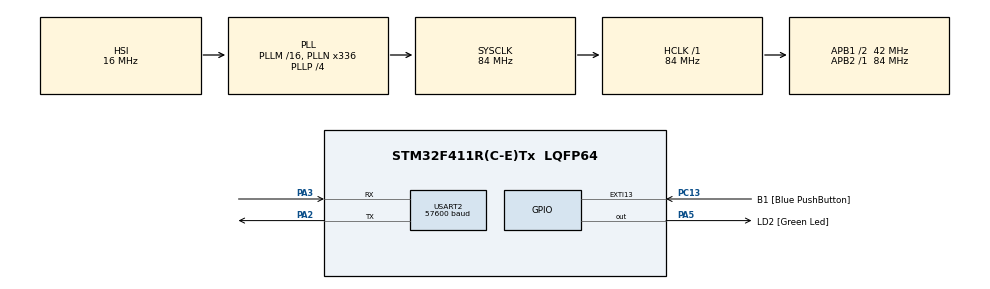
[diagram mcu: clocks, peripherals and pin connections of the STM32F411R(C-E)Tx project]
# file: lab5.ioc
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Dma.Request0=USART2_RX
Dma.Request1=USART2_TX
Dma.USART2_RX.0.Direction=DMA_PERIPH_TO_MEMORY
Dma.USART2_RX.0.FIFOMode=DMA_FIFOMODE_DISABLE
Dma.USART2_RX.0.Instance=DMA1_Stream5
Dma.USART2_RX.0.MemDataAlignment=DMA_MDATAALIGN_BYTE
Dma.USART2_RX.0.MemInc=DMA_MINC_ENABLE
Dma.USART2_RX.0.Mode=DMA_CIRCULAR
Dma.USART2_RX.0.PeriphDataAlignment=DMA_PDATAALIGN_BYTE
Dma.USART2_RX.0.PeriphInc=DMA_PINC_DISABLE
Dma.USART2_RX.0.Priority=DMA_PRIORITY_LOW
Dma.USART2_TX.1.Direction=DMA_MEMORY_TO_PERIPH
Dma.USART2_TX.1.FIFOMode=DMA_FIFOMODE_DISABLE
Dma.USART2_TX.1.Instance=DMA1_Stream6
Dma.USART2_TX.1.MemDataAlignment=DMA_MDATAALIGN_BYTE
Dma.USART2_TX.1.MemInc=DMA_MINC_ENABLE
Dma.USART2_TX.1.Mode=DMA_NORMAL
Dma.USART2_TX.1.PeriphDataAlignment=DMA_PDATAALIGN_BYTE
Dma.USART2_TX.1.PeriphInc=DMA_PINC_DISABLE
Dma.USART2_TX.1.Priority=DMA_PRIORITY_LOW
Mcu.Family=STM32F4
Mcu.Name=STM32F411R(C-E)Tx
Mcu.Package=LQFP64
NVIC.DMA1_Stream5_IRQn=true\:0\:0\:false\:false\:true\:false\:true\:true
NVIC.DMA1_Stream6_IRQn=true\:0\:0\:false\:false\:true\:false\:true\:true
NVIC.PriorityGroup=NVIC_PRIORITYGROUP_0
NVIC.USART2_IRQn=true\:0\:0\:false\:false\:true\:true\:true\:true
PA13.GPIO_Label=TMS
PA13.Mode=Serial_Wire
PA13.Signal=SYS_JTMS-SWDIO
PA14.GPIO_Label=TCK
PA14.Mode=Serial_Wire
PA14.Signal=SYS_JTCK-SWCLK
PA2.GPIO_ModeDefaultPP=GPIO_MODE_AF_PP
PA2.GPIO_PuPd=GPIO_NOPULL
PA2.GPIO_Speed=GPIO_SPEED_FREQ_VERY_HIGH
PA2.Mode=Asynchronous
PA2.Signal=USART2_TX
PA3.GPIO_ModeDefaultPP=GPIO_MODE_AF_PP
PA3.GPIO_PuPd=GPIO_NOPULL
PA3.GPIO_Speed=GPIO_SPEED_FREQ_VERY_HIGH
PA3.Mode=Asynchronous
PA3.Signal=USART2_RX
PA5.GPIO_Label=LD2 [Green Led]
PA5.Signal=GPIO_Output
PB3.GPIO_Label=SWO
PB3.Signal=SYS_JTDO-SWO
PC13-ANTI_TAMP.GPIO_Label=B1 [Blue PushButton]
PC13-ANTI_TAMP.GPIO_ModeDefaultEXTI=GPIO_MODE_IT_FALLING
PC13-ANTI_TAMP.Signal=GPXTI13
PC14-OSC32_IN.Mode=LSE-External-Oscillator
PC14-OSC32_IN.Signal=RCC_OSC32_IN
PC15-OSC32_OUT.Mode=LSE-External-Oscillator
PC15-OSC32_OUT.Signal=RCC_OSC32_OUT
PH0\ -\ OSC_IN.Mode=HSE-External-Clock-Source
PH0\ -\ OSC_IN.Signal=RCC_OSC_IN
PH1\ -\ OSC_OUT.Mode=HSE-External-Clock-Source
PH1\ -\ OSC_OUT.Signal=RCC_OSC_OUT
ProjectManager.HeapSize=0x200
ProjectManager.StackSize=0x400
ProjectManager.TargetToolchain=STM32CubeIDE
RCC.48MHZClocksFreq_Value=84000000
RCC.AHBFreq_Value=84000000
RCC.APB1CLKDivider=RCC_HCLK_DIV2
RCC.APB1Freq_Value=42000000
RCC.APB1TimFreq_Value=84000000
RCC.APB2Freq_Value=84000000
RCC.APB2TimFreq_Value=84000000
RCC.CortexFreq_Value=84000000
RCC.FLatency-AdvancedSettings=FLASH_LATENCY_2
RCC.HCLKFreq_Value=84000000
RCC.HSE_VALUE=8000000
RCC.HSI_VALUE=16000000
RCC.PLLN=336
RCC.PLLP=RCC_PLLP_DIV4
RCC.SYSCLKFreq_VALUE=84000000
RCC.SYSCLKSource=RCC_SYSCLKSOURCE_PLLCLK
RCC.VCOOutputFreq_Value=336000000
USART2.BaudRate=57600
USART2.VirtualMode=VM_ASYNC
board=NUCLEO-F411RE

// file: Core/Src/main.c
/* USER CODE BEGIN Header */
/**
  ******************************************************************************
  * @file           : main.c
  * @brief          : Main program body
  ******************************************************************************
  * @attention
  *
  * Copyright (c) 2023 STMicroelectronics.
  * All rights reserved.
  *
  * This software is licensed under terms that can be found in the LICENSE file
  * in the root directory of this software component.
  * If no LICENSE file comes with this software, it is provided AS-IS.
  *
  ******************************************************************************
  */
/* USER CODE END Header */
#include "main.h"

/* USER CODE BEGIN Includes */
#include "stdio.h"
//punyawat prachongkij 40
#include "string.h"
/* USER CODE END Includes */

UART_HandleTypeDef huart2;
DMA_HandleTypeDef hdma_usart2_rx;
DMA_HandleTypeDef hdma_usart2_tx;

/* USER CODE BEGIN PV */
uint8_t RxBuffer[20];
uint8_t TxBuffer[200];
uint8_t menu[] = "Mode Selection\r\n"
						"- Press 0 for Led Control\r\n"
						"- Press 1 for Button Status\r\n";
uint8_t Mode_state = 0;
uint8_t Button_state;
uint16_t frequency = 5;
uint32_t count = 0;
/* USER CODE END PV */

void SystemClock_Config(void);
static void MX_GPIO_Init(void);
static void MX_DMA_Init(void);
static void MX_USART2_UART_Init(void);
/* USER CODE BEGIN PFP */
void Blink();
void ToggleLED();
void UARTInterruptConfig();
void UARTDMAConfig();
/* USER CODE END PFP */

int main(void)
{

  /* MCU Configuration--------------------------------------------------------*/

  /* Reset of all peripherals, Initializes the Flash interface and the Systick. */
  HAL_Init();

  /* Configure the system clock */
  SystemClock_Config();

  /* Initialize all configured peripherals */
  MX_GPIO_Init();
  MX_DMA_Init();
  MX_USART2_UART_Init();
  /* USER CODE BEGIN 2 */
  HAL_UART_Transmit_IT(&huart2, menu, strlen((char*)menu));
  UARTInterruptConfig();

  /* USER CODE END 2 */

  /* Infinite loop */
  while (1)
  {
	  Button_state = HAL_GPIO_ReadPin(GPIOC, GPIO_PIN_13);
	  if(count%2 == 1)
	  {
		  Blink();
	  }
	  else
	  {
		  HAL_GPIO_WritePin(LD2_GPIO_Port, LD2_Pin, 0);
	  }

  }
}

void SystemClock_Config(void)
{
  RCC_OscInitTypeDef RCC_OscInitStruct = {0};
  RCC_ClkInitTypeDef RCC_ClkInitStruct = {0};

  /** Configure the main internal regulator output voltage
  */
  __HAL_RCC_PWR_CLK_ENABLE();
  __HAL_PWR_VOLTAGESCALING_CONFIG(PWR_REGULATOR_VOLTAGE_SCALE1);

  /** Initializes the RCC Oscillators according to the specified parameters
  * in the RCC_OscInitTypeDef structure.
  */
  RCC_OscInitStruct.OscillatorType = RCC_OSCILLATORTYPE_HSI;
  RCC_OscInitStruct.HSIState = RCC_HSI_ON;
  RCC_OscInitStruct.HSICalibrationValue = RCC_HSICALIBRATION_DEFAULT;
  RCC_OscInitStruct.PLL.PLLState = RCC_PLL_ON;
  RCC_OscInitStruct.PLL.PLLSource = RCC_PLLSOURCE_HSI;
  RCC_OscInitStruct.PLL.PLLM = 16;
  RCC_OscInitStruct.PLL.PLLN = 336;
  RCC_OscInitStruct.PLL.PLLP = RCC_PLLP_DIV4;
  RCC_OscInitStruct.PLL.PLLQ = 4;
  if (HAL_RCC_OscConfig(&RCC_OscInitStruct) != HAL_OK)
  {
    Error_Handler();
  }

  /** Initializes the CPU, AHB and APB buses clocks
  */
  RCC_ClkInitStruct.ClockType = RCC_CLOCKTYPE_HCLK|RCC_CLOCKTYPE_SYSCLK
                              |RCC_CLOCKTYPE_PCLK1|RCC_CLOCKTYPE_PCLK2;
  RCC_ClkInitStruct.SYSCLKSource = RCC_SYSCLKSOURCE_PLLCLK;
  RCC_ClkInitStruct.AHBCLKDivider = RCC_SYSCLK_DIV1;
  RCC_ClkInitStruct.APB1CLKDivider = RCC_HCLK_DIV2;
  RCC_ClkInitStruct.APB2CLKDivider = RCC_HCLK_DIV1;

  if (HAL_RCC_ClockConfig(&RCC_ClkInitStruct, FLASH_LATENCY_2) != HAL_OK)
  {
    Error_Handler();
  }
}

static void MX_USART2_UART_Init(void)
{

  huart2.Instance = USART2;
  huart2.Init.BaudRate = 57600;
  huart2.Init.WordLength = UART_WORDLENGTH_8B;
  huart2.Init.StopBits = UART_STOPBITS_1;
  huart2.Init.Parity = UART_PARITY_NONE;
  huart2.Init.Mode = UART_MODE_TX_RX;
  huart2.Init.HwFlowCtl = UART_HWCONTROL_NONE;
  huart2.Init.OverSampling = UART_OVERSAMPLING_16;
  if (HAL_UART_Init(&huart2) != HAL_OK)
  {
    Error_Handler();
  }

}

static void MX_DMA_Init(void)
{

  /* DMA controller clock enable */
  __HAL_RCC_DMA1_CLK_ENABLE();

  /* DMA interrupt init */
  /* DMA1_Stream5_IRQn interrupt configuration */
  HAL_NVIC_SetPriority(DMA1_Stream5_IRQn, 0, 0);
  HAL_NVIC_EnableIRQ(DMA1_Stream5_IRQn);
  /* DMA1_Stream6_IRQn interrupt configuration */
  HAL_NVIC_SetPriority(DMA1_Stream6_IRQn, 0, 0);
  HAL_NVIC_EnableIRQ(DMA1_Stream6_IRQn);

}

static void MX_GPIO_Init(void)
{
  GPIO_InitTypeDef GPIO_InitStruct = {0};

  /* GPIO Ports Clock Enable */
  __HAL_RCC_GPIOC_CLK_ENABLE();
  __HAL_RCC_GPIOH_CLK_ENABLE();
  __HAL_RCC_GPIOA_CLK_ENABLE();
  __HAL_RCC_GPIOB_CLK_ENABLE();

  /*Configure GPIO pin Output Level */
  HAL_GPIO_WritePin(LD2_GPIO_Port, LD2_Pin, GPIO_PIN_RESET);

  /*Configure GPIO pin : B1_Pin */
  GPIO_InitStruct.Pin = B1_Pin;
  GPIO_InitStruct.Mode = GPIO_MODE_IT_FALLING;
  GPIO_InitStruct.Pull = GPIO_NOPULL;
  HAL_GPIO_Init(B1_GPIO_Port, &GPIO_InitStruct);

  /*Configure GPIO pin : LD2_Pin */
  GPIO_InitStruct.Pin = LD2_Pin;
  GPIO_InitStruct.Mode = GPIO_MODE_OUTPUT_PP;
  GPIO_InitStruct.Pull = GPIO_NOPULL;
  GPIO_InitStruct.Speed = GPIO_SPEED_FREQ_LOW;
  HAL_GPIO_Init(LD2_GPIO_Port, &GPIO_InitStruct);

}

/* USER CODE BEGIN 4 */
void UARTInterruptConfig()
{
	HAL_UART_Receive_IT(&huart2, RxBuffer, 1);
}

void HAL_UART_RxCpltCallback(UART_HandleTypeDef *huart)
{
	if(huart == &huart2)
	{
		switch(Mode_state)
		{
		case 0:

			if(RxBuffer[0] == '0')
			{
				Mode_state = 1;
				//HAL_UART_Transmit_IT(&huart2, led, strlen((char*)led));
				RxBuffer[1] = '\0';
				sprintf((char*)TxBuffer,"\r\nReceived : %s\r\n"
										"Led Control\r\n"
						"Current Frequency : %d\r\n"
						"- Press a for speed up 1 Hz.\r\n"
						"- Press s for slow down 1 Hz.\r\n"
						"- Press d for ON/OFF LED.\r\n"
						"- Press x for main menu.\r\n"
						,RxBuffer,frequency);
				HAL_UART_Transmit_IT(&huart2, TxBuffer, strlen((char*)TxBuffer));
				HAL_UART_Receive_IT(&huart2, RxBuffer, 1);

			}
			else if(RxBuffer[0] == '1')
			{
				Mode_state = 2;
				RxBuffer[1] = '\0';
				sprintf((char*)TxBuffer,"\r\nReceived : %s\r\n"
						"Button Status : %d\r\n"
						"- Press x for main menu\r\n"
						,RxBuffer,Button_state);
				HAL_UART_Transmit_IT(&huart2, TxBuffer, strlen((char*)TxBuffer));
				HAL_UART_Receive_IT(&huart2, RxBuffer, 1);
			}
			else
			{

				RxBuffer[1] = '\0';
				sprintf((char*)TxBuffer,"\r\nReceived : %s\r\n"
						"Wrong Button"
						"Mode Selection\r\n"
						"- Press 0 for Led Control\r\n"
						"- Press 1 for Button Status\r\n"
						,RxBuffer);
				HAL_UART_Transmit_IT(&huart2, TxBuffer, strlen((char*)TxBuffer));
				HAL_UART_Receive_IT(&huart2, RxBuffer, 1);
			}
			break;

		case 1:

			if(RxBuffer[0] == 'a')
			{
				frequency += 1;
				RxBuffer[1] = '\0';
				sprintf((char*)TxBuffer,"\r\nReceived : %s\r\n"
										"Led Control\r\n"
										"Current Frequency : %d\r\n"
										"- Press a for speed up 1 Hz.\r\n"
										"- Press s for slow down 1 Hz.\r\n"
										"- Press d for ON/OFF LED.\r\n"
										"- Press x for main menu.\r\n"
										,RxBuffer,frequency);
				HAL_UART_Transmit_IT(&huart2, TxBuffer, strlen((char*)TxBuffer));
				HAL_UART_Receive_IT(&huart2, RxBuffer, 1);

			}
			else if(RxBuffer[0] == 's')
			{
				frequency -= 1;
				RxBuffer[1] = '\0';
				sprintf((char*)TxBuffer,"\r\nReceived : %s\r\n"
										"Led Control\r\n"
										"Current Frequency : %d\r\n"
										"- Press a for speed up 1 Hz.\r\n"
										"- Press s for slow down 1 Hz.\r\n"
										"- Press d for ON/OFF LED.\r\n"
										"- Press x for main menu.\r\n"
										,RxBuffer,frequency);
				HAL_UART_Transmit_IT(&huart2, TxBuffer, strlen((char*)TxBuffer));
				HAL_UART_Receive_IT(&huart2, RxBuffer, 1);
			}
			else if(RxBuffer[0] == 'd')
			{

				count += 1;
				RxBuffer[1] = '\0';
				sprintf((char*)TxBuffer,"\r\nReceived : %s\r\n"
										"Led Control\r\n"
										"Current Frequency : %d\r\n"
										"- Press a for speed up 1 Hz.\r\n"
										"- Press s for slow down 1 Hz.\r\n"
										"- Press d for ON/OFF LED.\r\n"
										"- Press x for main menu.\r\n"
										,RxBuffer,frequency);
				HAL_UART_Transmit_IT(&huart2, TxBuffer, strlen((char*)TxBuffer));
				HAL_UART_Receive_IT(&huart2, RxBuffer, 1);
			}
			else if(RxBuffer[0] == 'x')
			{
				Mode_state = 0;
				RxBuffer[1] = '\0';
				sprintf((char*)TxBuffer,"\r\nReceived : %s\r\n"
										"Mode Selection\r\n"
										"- Press 0 for Led Control\r\n"
										"- Press 1 for Button Status\r\n"
										,RxBuffer);
				HAL_UART_Transmit_IT(&huart2, TxBuffer, strlen((char*)TxBuffer));
				HAL_UART_Receive_IT(&huart2, RxBuffer, 1);
			}
			HAL_UART_Receive_IT(&huart2, RxBuffer, 1);
			break;

		case 2:

			if(RxBuffer[0] == 'x')
			{
				Mode_state = 0;
				RxBuffer[1] = '\0';
				sprintf((char*)TxBuffer,"\r\nReceived : %s\r\n"
										"Mode Selection\r\n"
										"- Press 0 for Led Control\r\n"
										"- Press 1 for Button Status\r\n"
														,RxBuffer);
				HAL_UART_Transmit_IT(&huart2, TxBuffer, strlen((char*)TxBuffer));
				HAL_UART_Receive_IT(&huart2, RxBuffer, 1);
			}
			HAL_UART_Receive_IT(&huart2, RxBuffer, 1);
			break;
		}

	}
}

void Blink()
{
	static uint32_t timestamp =0;
	if(HAL_GetTick() >= timestamp)
		{
			timestamp = HAL_GetTick() + (1000/frequency);
			HAL_GPIO_TogglePin(LD2_GPIO_Port, LD2_Pin);
		}

}

/* USER CODE END 4 */

void Error_Handler(void)
{
  __disable_irq();
  while (1)
  {
  }
}
